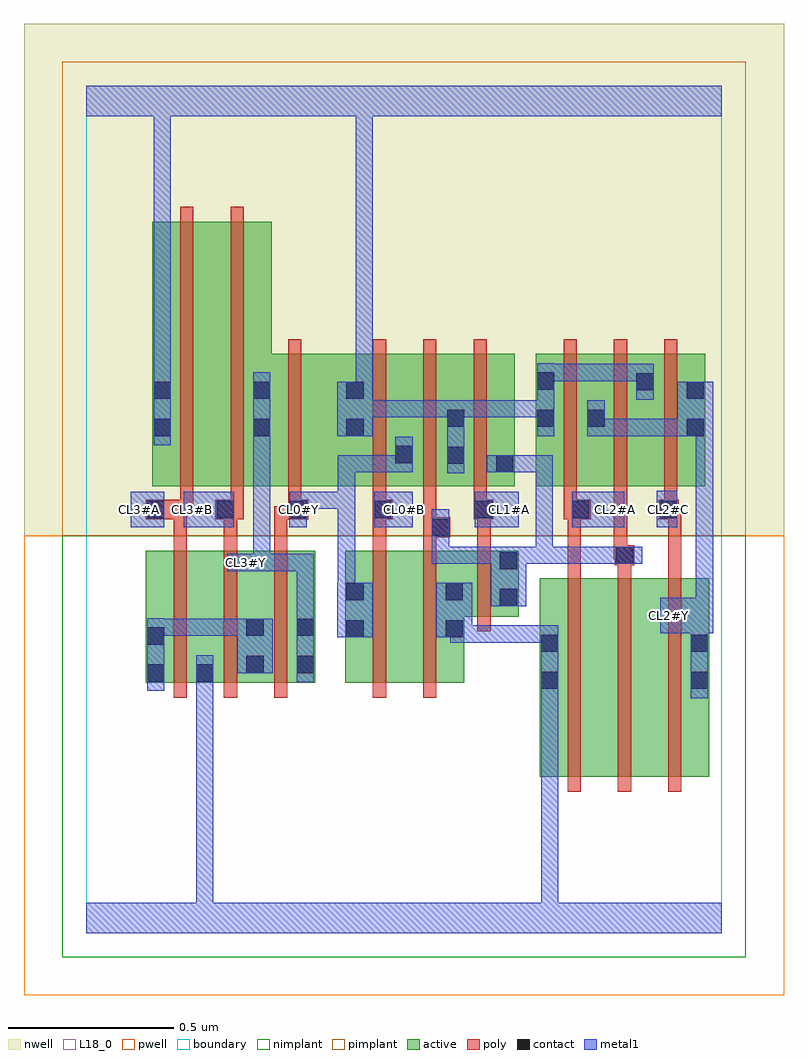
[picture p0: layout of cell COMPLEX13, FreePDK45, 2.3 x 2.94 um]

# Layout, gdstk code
import gdstk
lib = gdstk.Library(unit=1e-6, precision=1e-09)
def R(c, l, rs):  # rectangles x0, y0, x1, y1
    for r in rs: c.add(gdstk.rectangle(r[:2], r[2:], *l))
def A(c, l, x, y, w, h, nx, ny, dx, dy):  # array of equal rectangles
    R(c, l, [(x+i*dx, y+j*dy, x+i*dx+w, y+j*dy+h) for i in range(nx) for j in range(ny)])
active = (1, 0)
pwell = (2, 0)
nwell = (3, 0)
nimplant = (4, 0)
pimplant = (5, 0)
poly = (9, 0)
contact = (10, 0)
metal1 = (11, 0)
L18_0 = (18, 0)
boundary = (235, 0)

complex13 = lib.new_cell('COMPLEX13')
R(complex13, active, [(1.37,0.472,1.55,1.072), (1.37,0.472,1.43,1.072), (1.55,0.472,1.702,1.072), (1.702,0.472,1.882,1.072), (1.822,0.556,1.882,1.072), (0.18,0.756,0.24,1.156), (0.18,0.756,0.388,1.156), (0.328,0.756,0.54,1.156), (0.328,0.756,0.388,0.902), (0.48,0.756,0.692,1.156), (0.48,0.756,0.54,0.954), (0.632,0.756,0.692,1.156), (0.782,0.756,0.842,1.156), (0.782,0.756,0.962,1.156), (0.962,0.756,1.142,1.156), (1.082,0.756,1.142,1.156), (1.082,0.956,1.306,1.156), (1.246,0.956,1.306,1.156), (0.2,1.35,0.26,2.15), (0.2,1.35,0.38,2.15), (0.38,1.35,0.56,2.15), (0.5,1.35,0.842,1.75), (0.5,1.35,0.56,2.15), (0.782,1.35,0.842,1.75), (0.782,1.35,0.99,1.75), (0.93,1.35,1.146,1.75), (1.086,1.35,1.294,1.75), (1.234,1.35,1.294,1.75), (1.358,1.35,1.418,1.75), (1.358,1.35,1.57,1.75), (1.51,1.35,1.718,1.75), (1.658,1.35,1.718,1.75), (1.658,1.35,1.87,1.75), (1.81,1.35,1.87,1.75), (1.086,1.414,1.146,1.644), (0.93,1.416,0.99,1.644), (1.51,1.526,1.57,1.644)])
R(complex13, pwell, [(-0.188,-0.188,2.108,1.2)])
R(complex13, nwell, [(-0.188,1.2,2.108,2.748)])
R(complex13, nimplant, [(-0.072,-0.072,1.992,1.2)])
R(complex13, pimplant, [(-0.072,1.2,1.992,2.632)])
A(complex13, poly, 1.454, 0.428, 0.04, 0.688, 3, 1, 0.152, 0)
A(complex13, poly, 0.264, 0.712, 0.04, 0.488, 3, 1, 0.152, 0)
A(complex13, poly, 0.264, 1.16, 0.04, 0.13, 3, 1, 0.152, 0)
A(complex13, poly, 0.866, 1.306, 0.04, 0.488, 3, 1, 0.152, 0)
A(complex13, poly, 1.442, 1.306, 0.04, 0.488, 3, 1, 0.152, 0)
R(complex13, poly, [(0.866,0.712,0.906,1.2), (1.018,0.712,1.058,1.2), (1.182,0.912,1.222,1.2), (1.454,1.076,1.494,1.29), (1.606,1.076,1.646,1.152), (1.758,1.076,1.798,1.29), (1.596,1.112,1.656,1.172), (1.594,1.132,1.634,1.346), (1.594,1.132,1.636,1.172), (1.596,1.132,1.636,1.172), (0.866,1.16,0.906,1.29), (1.018,1.16,1.058,1.236), (1.182,1.16,1.222,1.29), (1.018,1.196,1.1,1.256), (1.018,1.216,1.058,1.256), (1.018,1.216,1.058,1.256), (1.018,1.216,1.058,1.346), (0.18,1.25,0.304,1.31), (0.39,1.25,0.476,1.31), (0.416,1.25,0.456,1.29), (0.416,1.25,0.456,1.29), (0.568,1.25,0.65,1.29), (0.61,1.25,0.65,1.29), (0.61,1.25,0.67,1.31), (0.866,1.25,0.926,1.31), (1.17,1.25,1.23,1.31), (1.182,1.25,1.222,1.29), (1.182,1.25,1.222,1.29), (1.442,1.25,1.524,1.31), (1.454,1.25,1.494,1.29), (1.454,1.25,1.494,1.29), (1.73,1.25,1.79,1.31), (1.75,1.25,1.79,1.29), (1.75,1.25,1.798,1.29), (0.264,1.27,0.304,1.31), (0.264,1.27,0.324,1.31), (0.284,1.27,0.324,1.346), (0.436,1.27,0.476,1.346), (0.61,1.27,0.65,1.346), (0.866,1.27,0.906,1.346), (0.866,1.27,0.906,1.31), (0.866,1.27,0.906,1.31), (1.17,1.27,1.21,1.346), (1.442,1.27,1.482,1.346), (1.746,1.27,1.786,1.346), (0.284,1.306,0.324,2.194), (0.436,1.306,0.476,2.194), (0.61,1.306,0.65,1.794)])
R(complex13, contact, [(1.374,0.738,1.426,0.79), (1.826,0.738,1.878,0.79), (0.184,0.76,0.236,0.812), (0.332,0.76,0.384,0.812), (0.484,0.786,0.536,0.838), (0.636,0.786,0.688,0.838), (1.374,0.85,1.426,0.902), (1.826,0.85,1.878,0.902), (0.184,0.872,0.236,0.924), (0.786,0.894,0.838,0.946), (1.086,0.894,1.138,0.946), (0.484,0.898,0.536,0.95), (0.636,0.898,0.688,0.95), (1.25,0.988,1.302,1.04), (0.786,1.006,0.838,1.058), (1.086,1.006,1.138,1.058), (1.25,1.1,1.302,1.152), (1.6,1.116,1.652,1.168), (1.044,1.2,1.096,1.252), (0.184,1.254,0.236,1.306), (0.394,1.254,0.446,1.306), (0.614,1.254,0.666,1.306), (0.87,1.254,0.922,1.306), (1.174,1.254,1.226,1.306), (1.468,1.254,1.52,1.306), (1.734,1.254,1.786,1.306), (1.238,1.392,1.29,1.444), (1.09,1.418,1.142,1.47), (0.934,1.42,0.986,1.472), (0.204,1.502,0.256,1.554), (0.504,1.502,0.556,1.554), (0.786,1.502,0.838,1.554), (1.814,1.502,1.866,1.554), (1.09,1.53,1.142,1.582), (1.362,1.53,1.414,1.582), (1.514,1.53,1.566,1.582), (0.204,1.614,0.256,1.666), (0.504,1.614,0.556,1.666), (0.786,1.614,0.838,1.666), (1.814,1.614,1.866,1.666), (1.662,1.64,1.714,1.692), (1.362,1.642,1.414,1.694)])
R(complex13, metal1, [(0,0,1.92,0.092), (0.332,0.04,0.384,0.092), (0.332,0.04,0.384,0.092), (0.332,0.04,0.384,0.092), (0.332,0.04,0.384,0.092), (0.332,0.04,0.384,0.092), (0.332,0.04,0.384,0.092), (0.332,0.04,0.384,0.784), (1.374,0.04,1.426,0.092), (1.374,0.04,1.426,0.092), (1.374,0.04,1.426,0.092), (1.374,0.04,1.426,0.092), (1.374,0.04,1.426,0.092), (1.374,0.04,1.426,0.092), (1.374,0.04,1.426,0.762), (1.374,0.71,1.426,0.762), (1.374,0.71,1.426,0.762), (1.374,0.71,1.426,0.93), (1.826,0.71,1.878,0.93), (0.184,0.732,0.236,0.952), (0.332,0.732,0.384,0.784), (0.332,0.732,0.384,0.784), (0.332,0.732,0.384,0.784), (0.332,0.732,0.384,0.784), (0.332,0.732,0.384,0.784), (0.332,0.732,0.384,0.784), (0.332,0.732,0.384,0.84), (0.636,0.758,0.688,0.978), (0.456,0.786,0.564,0.95), (1.1,0.878,1.152,0.93), (1.1,0.878,1.152,0.946), (1.1,0.878,1.304,0.93), (1.252,0.878,1.304,0.93), (1.252,0.878,1.304,0.93), (1.252,0.878,1.304,0.93), (1.252,0.878,1.304,0.93), (1.252,0.878,1.304,0.93), (1.252,0.878,1.426,0.93), (1.826,0.878,1.878,0.958), (0.758,0.894,0.866,1.058), (1.058,0.894,1.166,1.058), (0.184,0.898,0.236,0.95), (0.184,0.898,0.236,0.95), (0.184,0.898,0.368,0.95), (0.316,0.898,0.368,0.95), (0.316,0.898,0.508,0.95), (0.456,0.898,0.508,0.95), (0.456,0.898,0.508,0.95), (1.734,0.906,1.894,1.014), (0.636,0.926,0.688,1.146), (1.842,0.962,1.894,1.554), (1.222,0.988,1.33,1.152), (0.76,1.006,0.812,1.334), (0.426,1.094,0.556,1.146), (0.504,1.094,0.688,1.146), (0.504,1.094,0.556,1.526), (0.636,1.094,0.688,1.146), (0.636,1.094,0.688,1.146), (0.636,1.094,0.688,1.146), (1.278,1.1,1.33,1.168), (1.044,1.116,1.096,1.224), (1.044,1.116,1.304,1.168), (1.252,1.116,1.304,1.168), (1.252,1.116,1.33,1.168), (1.278,1.116,1.41,1.168), (1.358,1.116,1.41,1.168), (1.358,1.116,1.41,1.168), (1.358,1.116,1.416,1.168), (1.358,1.116,1.41,1.444), (1.364,1.116,1.416,1.168), (1.364,1.116,1.518,1.168), (1.466,1.116,1.518,1.168), (1.466,1.116,1.526,1.168), (1.474,1.116,1.526,1.168), (1.474,1.116,1.624,1.168), (1.572,1.116,1.68,1.168), (1.044,1.172,1.096,1.224), (1.044,1.172,1.096,1.28), (0.134,1.226,0.236,1.334), (0.294,1.226,0.446,1.334), (0.614,1.226,0.666,1.334), (0.87,1.226,0.986,1.334), (1.174,1.226,1.306,1.334), (1.468,1.226,1.626,1.334), (1.724,1.226,1.786,1.336), (0.614,1.282,0.666,1.334), (0.614,1.282,0.666,1.334), (0.614,1.282,0.812,1.334), (0.76,1.282,0.812,1.334), (0.76,1.282,0.812,1.334), (0.76,1.282,0.812,1.334), (0.76,1.282,0.812,1.444), (1.09,1.39,1.142,1.61), (0.76,1.392,0.812,1.444), (0.76,1.392,0.812,1.444), (0.76,1.392,0.812,1.444), (0.76,1.392,0.986,1.444), (0.934,1.392,0.986,1.5), (1.21,1.392,1.41,1.444), (0.204,1.474,0.256,1.694), (0.504,1.474,0.556,1.526), (0.504,1.474,0.556,1.526), (0.504,1.474,0.556,1.694), (0.758,1.502,0.866,1.666), (1.362,1.502,1.414,1.722), (1.514,1.502,1.566,1.61), (1.514,1.502,1.666,1.554), (1.614,1.502,1.666,1.554), (1.614,1.502,1.676,1.554), (1.624,1.502,1.676,1.554), (1.624,1.502,1.838,1.554), (1.786,1.502,1.838,1.554), (1.786,1.502,1.838,1.554), (1.786,1.502,1.894,1.666), (1.842,1.502,1.894,1.554), (1.842,1.502,1.894,1.554), (0.814,1.558,0.866,1.61), (0.814,1.558,0.866,1.61), (0.814,1.558,0.986,1.61), (0.934,1.558,0.986,1.61), (0.934,1.558,0.986,1.61), (0.934,1.558,0.986,1.61), (0.934,1.558,1.142,1.61), (1.09,1.558,1.304,1.61), (1.252,1.558,1.304,1.61), (1.252,1.558,1.304,1.61), (1.252,1.558,1.304,1.61), (1.252,1.558,1.414,1.61), (1.662,1.612,1.714,1.72), (0.814,1.614,0.866,1.666), (0.814,1.614,0.866,1.666), (0.814,1.614,0.866,1.666), (0.814,1.614,0.866,1.666), (0.814,1.614,0.866,2.52), (0.204,1.642,0.256,2.52), (1.362,1.668,1.518,1.72), (1.466,1.668,1.518,1.72), (1.466,1.668,1.526,1.72), (1.474,1.668,1.526,1.72), (1.474,1.668,1.628,1.72), (1.576,1.668,1.628,1.72), (1.576,1.668,1.714,1.72), (0,2.468,1.92,2.56), (0.204,2.468,0.256,2.52), (0.204,2.468,0.256,2.52), (0.204,2.468,0.256,2.52), (0.204,2.468,0.256,2.52), (0.204,2.468,0.256,2.52), (0.204,2.468,0.256,2.52), (0.204,2.468,0.256,2.52), (0.204,2.468,0.256,2.52), (0.814,2.468,0.866,2.52), (0.814,2.468,0.866,2.52), (0.814,2.468,0.866,2.52), (0.814,2.468,0.866,2.52), (0.814,2.468,0.866,2.52), (0.814,2.468,0.866,2.52), (0.814,2.468,0.866,2.52), (0.814,2.468,0.866,2.52), (0.814,2.468,0.866,2.52), (0.814,2.468,0.866,2.52), (0.814,2.468,0.866,2.52), (0.814,2.468,0.866,2.52)])
A(complex13, L18_0, 0.294, 1.254, 0.052, 0.052, 5, 1, 0.32, 0)
R(complex13, L18_0, [(0,0,1.92,0.092), (0.332,0.04,0.384,0.092), (0.332,0.04,0.384,0.092), (0.332,0.04,0.384,0.092), (0.332,0.04,0.384,0.092), (0.332,0.04,0.384,0.092), (0.332,0.04,0.384,0.092), (0.332,0.04,0.384,0.784), (1.374,0.04,1.426,0.092), (1.374,0.04,1.426,0.092), (1.374,0.04,1.426,0.092), (1.374,0.04,1.426,0.092), (1.374,0.04,1.426,0.092), (1.374,0.04,1.426,0.092), (1.374,0.04,1.426,0.762), (1.374,0.71,1.426,0.93), (1.374,0.71,1.426,0.762), (1.374,0.71,1.426,0.762), (1.826,0.71,1.878,0.93), (0.332,0.732,0.384,0.784), (0.332,0.732,0.384,0.784), (0.332,0.732,0.384,0.784), (0.332,0.732,0.384,0.784), (0.332,0.732,0.384,0.784), (0.332,0.732,0.384,0.784), (0.332,0.732,0.384,0.84), (0.636,0.758,0.688,0.978), (1.1,0.878,1.152,0.93), (1.1,0.878,1.152,0.946), (1.1,0.878,1.304,0.93), (1.252,0.878,1.304,0.93), (1.252,0.878,1.304,0.93), (1.252,0.878,1.304,0.93), (1.252,0.878,1.304,0.93), (1.252,0.878,1.304,0.93), (1.252,0.878,1.426,0.93), (1.826,0.878,1.878,0.958), (0.758,0.894,0.866,1.058), (1.058,0.894,1.166,1.058), (1.734,0.906,1.894,1.014), (0.636,0.926,0.688,1.146), (1.734,0.934,1.786,0.986), (1.842,0.962,1.894,1.554), (0.76,1.006,0.812,1.334), (0.426,1.094,0.556,1.146), (0.454,1.094,0.506,1.146), (0.504,1.094,0.556,1.526), (0.504,1.094,0.688,1.146), (0.636,1.094,0.688,1.146), (0.636,1.094,0.688,1.146), (0.636,1.094,0.688,1.146), (0.134,1.226,0.236,1.334), (0.294,1.226,0.446,1.334), (0.614,1.226,0.666,1.334), (0.87,1.226,0.986,1.334), (1.174,1.226,1.306,1.334), (1.468,1.226,1.626,1.334), (1.724,1.226,1.786,1.336), (0.134,1.254,0.186,1.306), (1.734,1.254,1.786,1.306), (0.614,1.282,0.666,1.334), (0.614,1.282,0.666,1.334), (0.614,1.282,0.812,1.334), (0.76,1.282,0.812,1.334), (0.76,1.282,0.812,1.334), (0.76,1.282,0.812,1.334), (0.76,1.282,0.812,1.444), (1.09,1.39,1.142,1.61), (0.76,1.392,0.812,1.444), (0.76,1.392,0.812,1.444), (0.76,1.392,0.812,1.444), (0.76,1.392,0.986,1.444), (0.934,1.392,0.986,1.5), (0.204,1.474,0.256,1.694), (0.504,1.474,0.556,1.694), (0.504,1.474,0.556,1.526), (0.504,1.474,0.556,1.526), (0.758,1.502,0.866,1.666), (1.362,1.502,1.414,1.722), (1.514,1.502,1.566,1.61), (1.514,1.502,1.666,1.554), (1.614,1.502,1.666,1.554), (1.614,1.502,1.676,1.554), (1.624,1.502,1.676,1.554), (1.624,1.502,1.838,1.554), (1.786,1.502,1.838,1.554), (1.786,1.502,1.838,1.554), (1.786,1.502,1.894,1.666), (1.842,1.502,1.894,1.554), (1.842,1.502,1.894,1.554), (0.814,1.558,0.866,1.61), (0.814,1.558,0.866,1.61), (0.814,1.558,0.986,1.61), (0.934,1.558,0.986,1.61), (0.934,1.558,0.986,1.61), (0.934,1.558,0.986,1.61), (0.934,1.558,1.142,1.61), (1.09,1.558,1.304,1.61), (1.252,1.558,1.304,1.61), (1.252,1.558,1.304,1.61), (1.252,1.558,1.304,1.61), (1.252,1.558,1.414,1.61), (1.662,1.612,1.714,1.72), (0.814,1.614,0.866,1.666), (0.814,1.614,0.866,1.666), (0.814,1.614,0.866,1.666), (0.814,1.614,0.866,1.666), (0.814,1.614,0.866,2.52), (0.204,1.642,0.256,2.52), (1.362,1.668,1.518,1.72), (1.466,1.668,1.518,1.72), (1.466,1.668,1.526,1.72), (1.474,1.668,1.526,1.72), (1.474,1.668,1.628,1.72), (1.576,1.668,1.628,1.72), (1.576,1.668,1.714,1.72), (0,2.468,1.92,2.56), (0.204,2.468,0.256,2.52), (0.204,2.468,0.256,2.52), (0.204,2.468,0.256,2.52), (0.204,2.468,0.256,2.52), (0.204,2.468,0.256,2.52), (0.204,2.468,0.256,2.52), (0.204,2.468,0.256,2.52), (0.204,2.468,0.256,2.52), (0.814,2.468,0.866,2.52), (0.814,2.468,0.866,2.52), (0.814,2.468,0.866,2.52), (0.814,2.468,0.866,2.52), (0.814,2.468,0.866,2.52), (0.814,2.468,0.866,2.52), (0.814,2.468,0.866,2.52), (0.814,2.468,0.866,2.52), (0.814,2.468,0.866,2.52), (0.814,2.468,0.866,2.52), (0.814,2.468,0.866,2.52), (0.814,2.468,0.866,2.52)])
R(complex13, boundary, [(0,0,1.92,2.56)])
complex13.add(gdstk.Label('CL0#B', (0.96,1.28), layer=11, texttype=0))
complex13.add(gdstk.Label('CL0#Y', (0.64,1.28), layer=11, texttype=0))
complex13.add(gdstk.Label('CL1#A', (1.28,1.28), layer=11, texttype=0))
complex13.add(gdstk.Label('CL2#A', (1.6,1.28), layer=11, texttype=0))
complex13.add(gdstk.Label('CL2#C', (1.76,1.28), layer=11, texttype=0))
complex13.add(gdstk.Label('CL2#Y', (1.76,0.96), layer=11, texttype=0))
complex13.add(gdstk.Label('CL3#A', (0.16,1.28), layer=11, texttype=0))
complex13.add(gdstk.Label('CL3#B', (0.32,1.28), layer=11, texttype=0))
complex13.add(gdstk.Label('CL3#Y', (0.48,1.12), layer=11, texttype=0))

lib.write_gds('COMPLEX13.gds')
